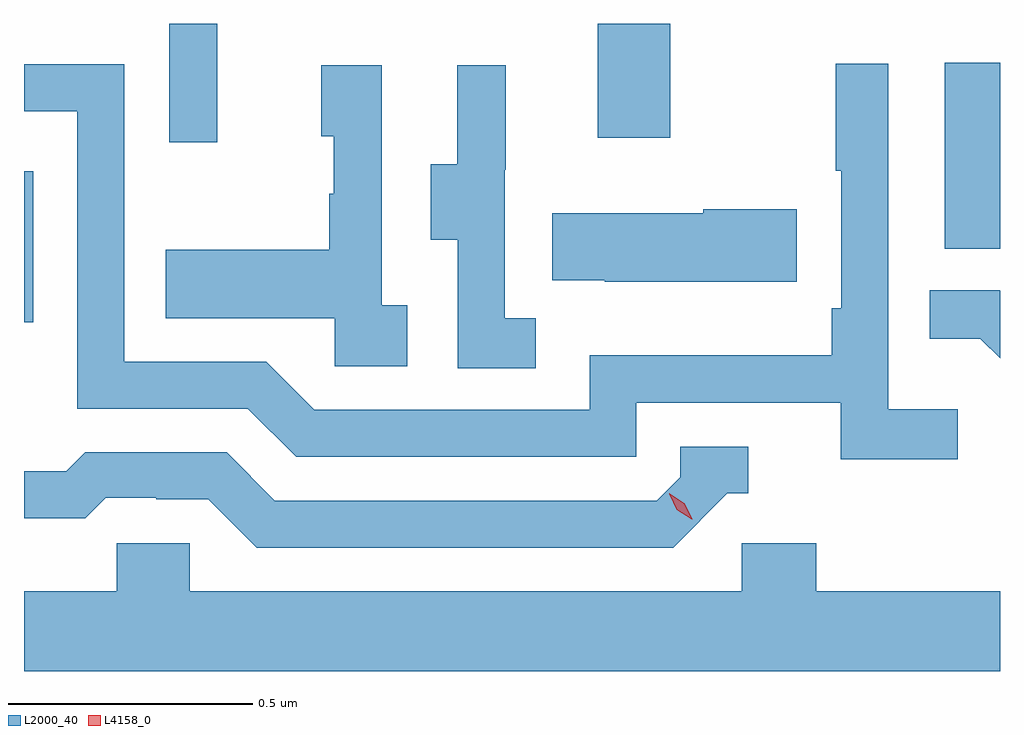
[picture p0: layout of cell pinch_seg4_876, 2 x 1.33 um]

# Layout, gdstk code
import gdstk
lib = gdstk.Library(unit=1e-6, precision=1e-09)
def R(c, l, rs):  # rectangles x0, y0, x1, y1
    for r in rs: c.add(gdstk.rectangle(r[:2], r[2:], *l))
def P(c, l, *ps):  # polygons
    for p in ps: c.add(gdstk.Polygon(p, *l))
L2000_40 = (2000, 40)
L4158_0 = (4158, 0)

pinch_seg4_876 = lib.new_cell('pinch_seg4_876')
R(pinch_seg4_876, L2000_40, [(840.131,794.871,840.15,795.18), (842.018,795.021,842.131,795.403), (840.429,795.24,840.527,795.482), (841.307,795.249,841.455,795.482)])
P(pinch_seg4_876, L2000_40, [(842.044,794.692),(841.902,794.692),(841.902,795.4),(841.794,795.4),(841.794,795.181),(841.806,795.181),(841.806,794.899),(841.786,794.899),(841.786,794.803),(841.29,794.803),(841.29,794.691),(840.726,794.691),(840.627,794.79),(840.336,794.79),(840.336,795.399),(840.131,795.399),(840.131,795.303),(840.24,795.303),(840.24,794.694),(840.59,794.694),(840.689,794.595),(841.386,794.595),(841.386,794.706),(841.805,794.706),(841.805,794.59),(842.044,794.59)],
  [(840.916,794.906),(840.864,794.906),(840.864,795.397),(840.74,795.397),(840.74,795.252),(840.766,795.252),(840.766,795.134),(840.756,795.134),(840.756,795.019),(840.421,795.019),(840.421,794.879),(840.768,794.879),(840.768,794.781),(840.916,794.781)],
  [(841.18,794.879),(841.116,794.879),(841.116,795.183),(841.118,795.183),(841.118,795.397),(841.019,795.397),(841.019,795.195),(840.965,795.195),(840.965,795.04),(841.02,795.04),(841.02,794.776),(841.18,794.776)],
  [(841.714,795.102),(841.523,795.102),(841.523,795.094),(841.213,795.094),(841.213,794.957),(841.321,794.957),(841.321,794.954),(841.714,794.954)],
  [(842.131,794.935),(842.13,794.936),(841.987,794.936),(841.987,794.837),(842.091,794.837),(842.131,794.797)],
  [(841.572,794.52),(841.615,794.52),(841.615,794.616),(841.476,794.616),(841.476,794.553),(841.428,794.505),(840.645,794.505),(840.546,794.604),(840.257,794.604),(840.218,794.565),(840.131,794.565),(840.131,794.469),(840.257,794.469),(840.299,794.511),(840.402,794.511),(840.402,794.508),(840.509,794.508),(840.608,794.409),(841.461,794.409)],
  [(842.131,794.32),(841.754,794.32),(841.754,794.418),(841.602,794.418),(841.602,794.32),(840.471,794.32),(840.471,794.418),(840.321,794.418),(840.321,794.32),(840.131,794.32),(840.131,794.156),(842.131,794.156)])
P(pinch_seg4_876, L4158_0, [(841.499,794.467),(841.469,794.487),(841.453,794.519),(841.453,794.52),(841.453,794.52),(841.484,794.5),(841.5,794.468),(841.5,794.467)])

lib.write_gds('pinch_seg4_876.gds')
